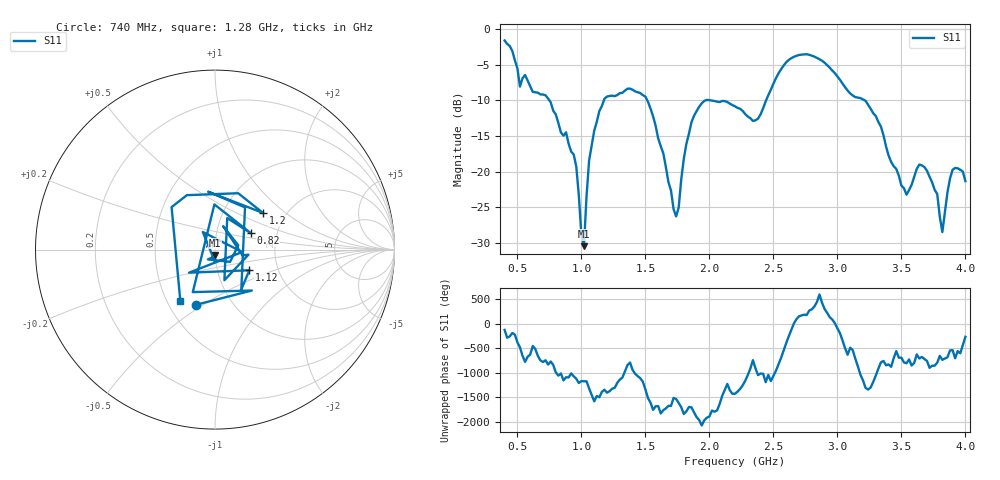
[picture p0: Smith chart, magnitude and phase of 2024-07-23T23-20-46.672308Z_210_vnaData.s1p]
!Created with skrf (http://scikit-rf.org).
# Hz S RI R 50.0
!freq ReS11 ImS11
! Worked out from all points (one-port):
!   181 points, 400 MHz to 4 GHz, reference 50 ohm
!   lowest |S11| = -30.5 dB at 1.02 GHz (marker M1), VSWR 1.06, Z = 49.9 - j2.99 ohm
!   |S11| at or under -10 dB: 1.515 GHz to 1.971 GHz (456.3 MHz wide, 26.2 % of centre); 2.01 GHz to 2.443 GHz (433 MHz wide, 19.4 % of centre); 3.213 GHz to end of sweep (the widest 3 of 4)
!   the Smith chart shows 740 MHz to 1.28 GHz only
!   S11 on the Smith chart (normalised r, x): 740 MHz: 0.68, -0.47; 820 MHz: 1.46, +0.28; 1.12 GHz: 1.42, -0.34; 1.2 GHz: 1.53, +0.71; 1.28 GHz: 0.59, -0.38
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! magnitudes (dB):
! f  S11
! 400 MHz  -1.6
! 520 MHz  -8.1
! 740 MHz  -9.8
! 820 MHz  -13.2
! 860 MHz  -15.0
! 960 MHz  -19.3
! 1.02 GHz  -30.5
! 1.06 GHz  -18.5
! 1.12 GHz  -13.0
! 1.2 GHz  -9.5
! 1.28 GHz  -9.3
! 1.3 GHz  -9.0
! 1.5 GHz  -9.5
! 1.72 GHz  -25.3
! 1.76 GHz  -25.1
! 1.82 GHz  -16.1
! 1.9 GHz  -11.5
! 2.2 GHz  -10.8
! 2.38 GHz  -12.6
! 2.66 GHz  -3.9
! 3.1 GHz  -9.0
! 3.3 GHz  -12.2
! 3.56 GHz  -22.6
! 3.68 GHz  -19.4
! 3.78 GHz  -23.2
! 3.82 GHz  -28.5
! 3.9 GHz  -19.8
! 4 GHz  -21.4
